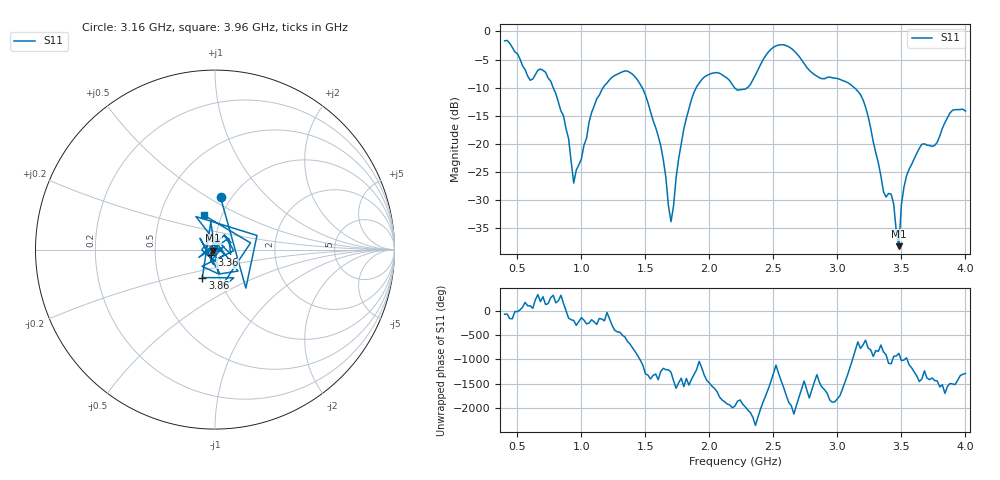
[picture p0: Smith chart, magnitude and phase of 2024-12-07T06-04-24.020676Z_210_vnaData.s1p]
!Created with skrf (http://scikit-rf.org).
# Hz S RI R 50.0
!freq ReS11 ImS11
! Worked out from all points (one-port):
!   181 points, 400 MHz to 4 GHz, reference 50 ohm
!   lowest |S11| = -38.2 dB at 3.48 GHz (marker M1), VSWR 1.02, Z = 48.9 - j0.574 ohm
!   |S11| at or under -10 dB: 779.4 MHz to 1.17 GHz (390.7 MHz wide, 40.1 % of centre); 1.475 GHz to 1.897 GHz (422.5 MHz wide, 25.1 % of centre); 3.132 GHz to end of sweep (the widest 3 of 4)
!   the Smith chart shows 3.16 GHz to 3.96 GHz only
!   S11 on the Smith chart (normalised r, x): 3.16 GHz: 0.89, +0.57; 3.36 GHz: 0.96, -0.06; 3.86 GHz: 0.83, -0.27; 3.96 GHz: 0.82, +0.33
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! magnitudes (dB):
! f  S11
! 400 MHz  -1.7
! 600 MHz  -8.7
! 720 MHz  -7.3
! 860 MHz  -15.0
! 940 MHz  -27.0
! 1.12 GHz  -12.0
! 1.3 GHz  -7.4
! 1.5 GHz  -11.3
! 1.62 GHz  -20.4
! 1.7 GHz  -33.8
! 1.76 GHz  -22.6
! 1.86 GHz  -12.1
! 1.94 GHz  -8.6
! 2.2 GHz  -10.1
! 2.3 GHz  -10.0
! 2.5 GHz  -2.8
! 2.66 GHz  -3.4
! 3.1 GHz  -9.4
! 3.16 GHz  -10.6
! 3.24 GHz  -15.1
! 3.36 GHz  -28.5
! 3.42 GHz  -28.9
! 3.48 GHz  -38.2
! 3.5 GHz  -30.8
! 3.56 GHz  -24.5
! 3.86 GHz  -15.3
! 3.96 GHz  -13.9
! 4 GHz  -14.2
